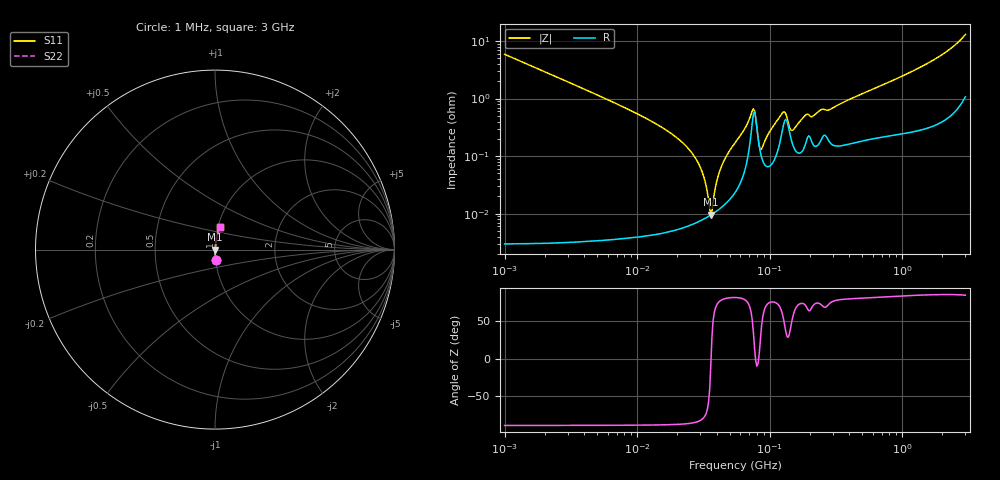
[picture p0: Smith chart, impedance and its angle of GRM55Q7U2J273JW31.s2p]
!Murata Part Number: GRM55Q7U2J273JW31
!These Parameters are Measured in Series Mode Connection
!Data Generated on Mar 30, 2021
!  o--ll--o
!Port1  Port2
!  o------o
!Operation Temp=25[degC], DC Bias Voltage=0[V]
!Freq. Start=1000[kHz] Stop=3[GHz] 401[Steps]
# Hz S RI R 50
!Freq.(Hz) S11(Real) S11(Imag) S21(Real) S21(Imag) S12(Real) S12(Imag) S22(Real) S22(Imag)
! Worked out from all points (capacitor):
!   401 points, 1 MHz to 3 GHz, reference 50 ohm
!   read as one part in series: C = 27 nF near 1.041 MHz
!   lowest |Z| = 9.61 mohm at 35.98 MHz (marker M1)
!   series resonance near 36.13 MHz, so ESL is about 720 pH
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1000000  0.00349 -0.0587  0.9965 0.0587  0.9965 0.0587  0.00349 -0.0587
3823119  0.000265 -0.0152  0.9997 0.0152  0.9997 0.0152  0.000265 -0.0152
1.461624e7  5.6e-05 -0.0034  0.9999 0.0034  0.9999 0.0034  5.6e-05 -0.0034
2.137957e7  5.85e-05 -0.00182  0.9999 0.00182  0.9999 0.00182  5.85e-05 -0.00182
2.718395e7  6.87e-05 -0.000968  0.9999 0.000968  0.9999 0.000968  6.87e-05 -0.000968
3.127247e7  7.93e-05 -0.000492  0.9999 0.000492  0.9999 0.000492  7.93e-05 -0.000492
3.597591e7  9.5e-05 -1.43e-05  0.9999 1.43e-05  0.9999 1.43e-05  9.5e-05 -1.43e-05
3.74453e7  0.000101 0.000125  0.9999 -0.000125  0.9999 -0.000125  0.000101 0.000125
4.307715e7  0.000128 0.000632  0.9999 -0.000632  0.9999 -0.000632  0.000128 0.000632
5.477226e7  0.000235 0.00169  0.9998 -0.00169  0.9998 -0.00169  0.000235 0.00169
7.395247e7  0.00383 0.00477  0.9962 -0.00477  0.9962 -0.00477  0.00383 0.00477
7.697298e7  0.00591 0.00143  0.9941 -0.00143  0.9941 -0.00143  0.00591 0.00143
8.338914e7  0.00151 0.000161  0.9985 -0.000161  0.9985 -0.000161  0.00151 0.000161
8.679508e7  0.000964 0.000898  0.999 -0.000898  0.999 -0.000898  0.000964 0.000898
1.244416e8  0.00273 0.00486  0.9973 -0.00486  0.9973 -0.00486  0.00273 0.00486
1.321429e8  0.00436 0.00329  0.9956 -0.00329  0.9956 -0.00329  0.00436 0.00329
1.49005e8  0.00161 0.00231  0.9984 -0.00231  0.9984 -0.00231  0.00161 0.00231
1.857042e8  0.00161 0.00485  0.9984 -0.00485  0.9984 -0.00485  0.00161 0.00485
2.094008e8  0.00172 0.00455  0.9983 -0.00455  0.9983 -0.00455  0.00172 0.00455
8.005644e8  0.00261 0.0192  0.9974 -0.0192  0.9974 -0.0192  0.00261 0.0192
1.818868e9  0.00602 0.0499  0.994 -0.0499  0.994 -0.0499  0.00602 0.0499
3e9  0.0267 0.1248  0.9733 -0.1248  0.9733 -0.1248  0.0267 0.1248
